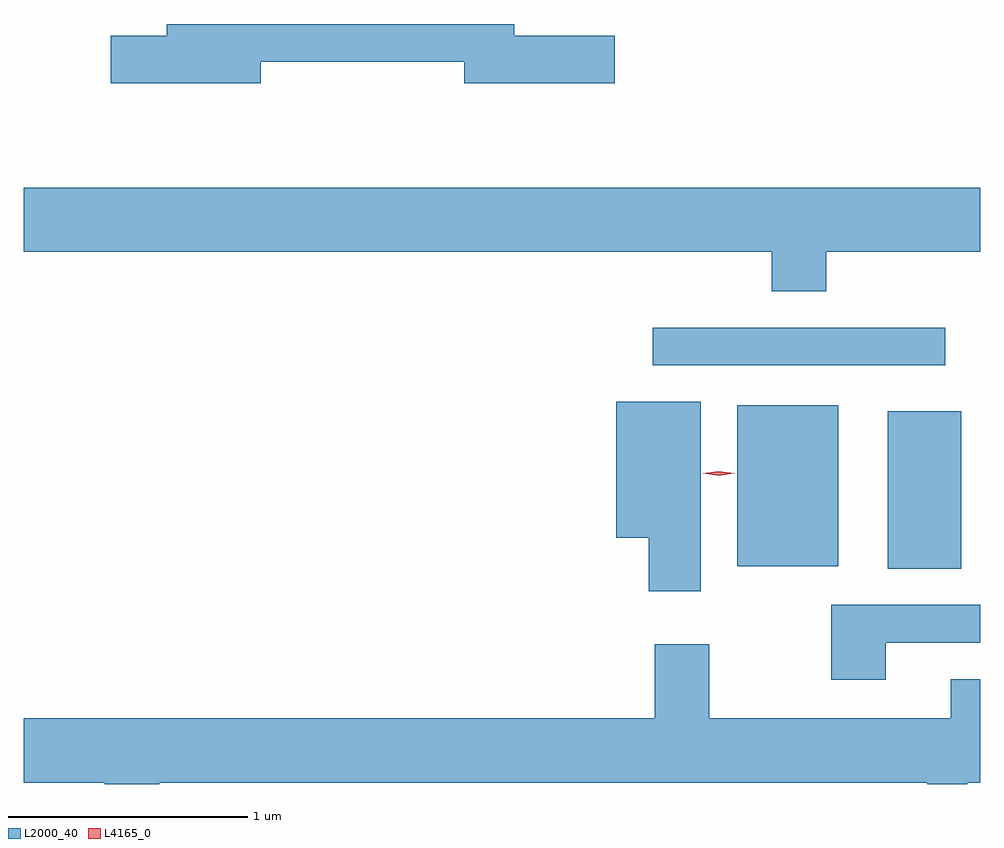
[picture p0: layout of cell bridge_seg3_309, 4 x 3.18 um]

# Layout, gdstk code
import gdstk
lib = gdstk.Library(unit=1e-6, precision=1e-09)
def R(c, l, rs):  # rectangles x0, y0, x1, y1
    for r in rs: c.add(gdstk.rectangle(r[:2], r[2:], *l))
def P(c, l, *ps):  # polygons
    for p in ps: c.add(gdstk.Polygon(p, *l))
L2000_40 = (2000, 40)
L4165_0 = (4165, 0)

bridge_seg3_309 = lib.new_cell('bridge_seg3_309')
R(bridge_seg3_309, L2000_40, [(609.976,1133.571,610.284,1134.229), (609.346,1133.581,609.769,1134.254), (608.993,1134.421,610.218,1134.579)])
P(bridge_seg3_309, L2000_40, [(607.354,1135.691),(608.206,1135.691),(608.206,1135.601),(608.834,1135.601),(608.834,1135.799),(608.414,1135.799),(608.414,1135.849),(606.961,1135.849),(606.961,1135.799),(606.726,1135.799),(606.726,1135.601),(607.354,1135.601)],
  [(609.719,1134.896),(610.363,1134.896),(610.363,1135.164),(606.363,1135.164),(606.363,1134.896),(609.491,1134.896),(609.491,1134.731),(609.719,1134.731)],
  [(609.194,1134.269),(608.841,1134.269),(608.841,1133.701),(608.976,1133.701),(608.976,1133.476),(609.194,1133.476)],
  [(609.969,1133.261),(610.363,1133.261),(610.363,1133.419),(609.741,1133.419),(609.741,1133.106),(609.969,1133.106)],
  [(606.929,1132.676),(610.141,1132.676),(610.141,1132.67),(610.309,1132.67),(610.309,1132.676),(610.363,1132.676),(610.363,1133.109),(610.241,1133.109),(610.241,1132.944),(609.229,1132.944),(609.229,1133.254),(609.001,1133.254),(609.001,1132.944),(606.363,1132.944),(606.363,1132.676),(606.701,1132.676),(606.701,1132.67),(606.929,1132.67)])
P(bridge_seg3_309, L4165_0, [(609.269,1133.96),(609.203,1133.969),(609.203,1133.97),(609.203,1133.97),(609.27,1133.979),(609.336,1133.97),(609.336,1133.969),(609.336,1133.969)])

lib.write_gds('bridge_seg3_309.gds')
